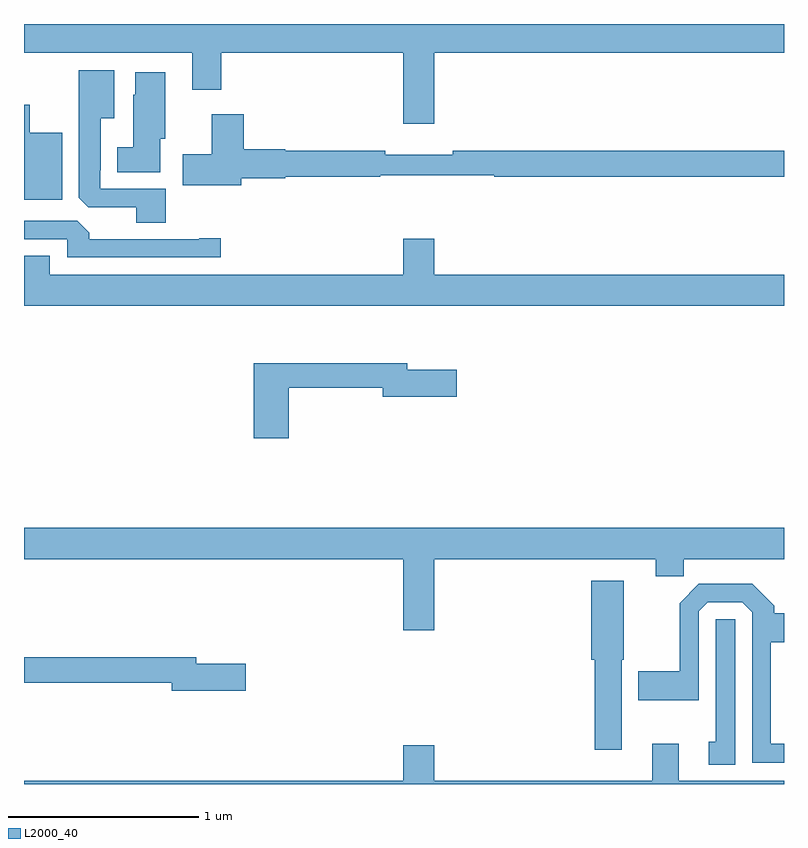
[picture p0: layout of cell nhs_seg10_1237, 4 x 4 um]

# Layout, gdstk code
import gdstk
lib = gdstk.Library(unit=1e-6, precision=1e-09)
def P(c, l, *ps):  # polygons
    for p in ps: c.add(gdstk.Polygon(p, *l))
L2000_40 = (2000, 40)

nhs_seg10_1237 = lib.new_cell('nhs_seg10_1237')
P(nhs_seg10_1237, L2000_40, [(177.16,1268.348),(179,1268.348),(179,1268.5),(175,1268.5),(175,1268.348),(175.886,1268.348),(175.886,1268.154),(176.039,1268.154),(176.039,1268.348),(176.996,1268.348),(176.996,1267.974),(177.16,1267.974)],
  [(175.745,1267.632),(175.401,1267.632),(175.401,1267.729),(175.405,1267.729),(175.405,1268.003),(175.474,1268.003),(175.474,1268.257),(175.289,1268.257),(175.289,1267.585),(175.338,1267.536),(175.592,1267.536),(175.592,1267.453),(175.745,1267.453)],
  [(175.717,1267.896),(175.744,1267.896),(175.744,1268.245),(175.586,1268.245),(175.586,1268.127),(175.574,1268.127),(175.574,1267.852),(175.49,1267.852),(175.49,1267.721),(175.717,1267.721)],
  [(175.201,1267.927),(175.03,1267.927),(175.03,1268.074),(175,1268.074),(175,1267.574),(175.201,1267.574)],
  [(176.143,1267.688),(176.376,1267.688),(176.376,1267.696),(176.876,1267.696),(176.876,1267.704),(177.476,1267.704),(177.476,1267.696),(179,1267.696),(179,1267.832),(177.256,1267.832),(177.256,1267.813),(176.9,1267.813),(176.9,1267.832),(176.376,1267.832),(176.376,1267.84),(176.156,1267.84),(176.156,1268.026),(175.988,1268.026),(175.988,1267.815),(175.836,1267.815),(175.836,1267.652),(176.143,1267.652)],
  [(176.035,1267.373),(175.922,1267.373),(175.922,1267.368),(175.343,1267.368),(175.343,1267.402),(175.281,1267.464),(175,1267.464),(175,1267.368),(175.227,1267.368),(175.227,1267.272),(176.035,1267.272)],
  [(179,1267.18),(177.16,1267.18),(177.16,1267.369),(176.996,1267.369),(176.996,1267.18),(175.135,1267.18),(175.135,1267.279),(175,1267.279),(175,1267.016),(179,1267.016)],
  [(176.393,1266.586),(176.888,1266.586),(176.888,1266.539),(177.277,1266.539),(177.277,1266.681),(177.016,1266.681),(177.016,1266.715),(176.21,1266.715),(176.21,1266.321),(176.393,1266.321)],
  [(177.16,1265.684),(178.325,1265.684),(178.325,1265.594),(178.472,1265.594),(178.472,1265.684),(179,1265.684),(179,1265.848),(175,1265.848),(175,1265.684),(176.996,1265.684),(176.996,1265.31),(177.16,1265.31)],
  [(178.147,1265.154),(178.156,1265.154),(178.156,1265.569),(177.986,1265.569),(177.986,1265.154),(178.004,1265.154),(178.004,1264.68),(178.147,1264.68)],
  [(179,1264.712),(178.929,1264.712),(178.929,1265.246),(179,1265.246),(179,1265.398),(178.949,1265.398),(178.949,1265.437),(178.832,1265.554),(178.552,1265.554),(178.45,1265.452),(178.45,1265.093),(178.232,1265.093),(178.232,1264.94),(178.551,1264.94),(178.551,1265.409),(178.599,1265.457),(178.779,1265.457),(178.833,1265.403),(178.833,1264.611),(179,1264.611)],
  [(178.744,1265.367),(178.64,1265.367),(178.64,1264.722),(178.604,1264.722),(178.604,1264.602),(178.744,1264.602)],
  [(176.167,1265.132),(175.906,1265.132),(175.906,1265.168),(175,1265.168),(175,1265.032),(175.778,1265.032),(175.778,1264.99),(176.167,1264.99)],
  [(179,1264.516),(178.447,1264.516),(178.447,1264.711),(178.307,1264.711),(178.307,1264.516),(177.16,1264.516),(177.16,1264.705),(176.996,1264.705),(176.996,1264.516),(175,1264.516),(175,1264.5),(179,1264.5)])

lib.write_gds('nhs_seg10_1237.gds')
